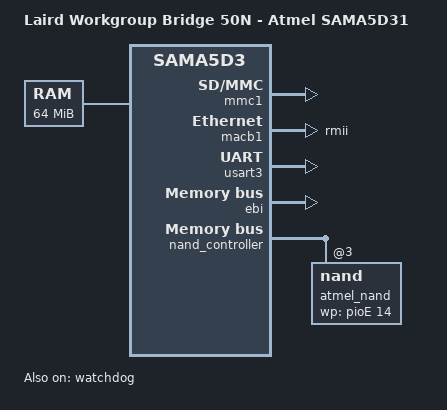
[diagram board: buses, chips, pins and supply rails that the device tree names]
// SPDX-License-Identifier: GPL-2.0
/*
 * at91-wb50n_common.dtsi - Device Tree include common file for the WB50N module
 *
 *  Copyright (C) 2018-2020 Laird Connectivity
 *
 */

#include "sama5d31.dtsi"

/ {
	model = "Laird Workgroup Bridge 50N - Atmel SAMA5D31";
	compatible = "laird,wb50n", "atmel,sama5d31", "atmel,sama5d3", "atmel,sama5";

	chosen {
		stdout-path = "serial0:115200n8";
	};

	aliases {
		mmc0 = &mmc0;
		mmc1 = &mmc1;
	};

	memory@20000000 {
		reg = <0x20000000 0x4000000>;
	};

/*
	wakeup-wifi-bt {
		pinctrl-names = "default";
		pinctrl-0 = <&pinctrl_wifi_wake &pinctrl_bt_wake>;

		compatible = "gpio-wakeup";

		interrupt-names = "wifi-wake", "bt-wake";
		interrupts-extended = <&pioC 31 IRQ_TYPE_EDGE_FALLING>,
			<&pioE 10 IRQ_TYPE_EDGE_FALLING>;
	};
*/
};

&sha {
	status = "disabled";
};

&pinctrl {
	board {
		pinctrl_nand0_wp: nand0_wp {
			atmel,pins =
				<AT91_PIOE 14 AT91_PERIPH_GPIO AT91_PINCTRL_NONE>;
		};

		pinctrl_wifi_pmu_en: wifi_pmu_en {
			atmel,pins =
				<AT91_PIOE 3 AT91_PERIPH_GPIO AT91_PINCTRL_NONE>;
		};

		pinctrl_wifi_wake: wifi_wake {
			atmel,pins =
				<AT91_PIOC 31 AT91_PERIPH_GPIO AT91_PINCTRL_PULL_UP_DEGLITCH>;
		};

		pinctrl_bt_wake: bt_wake {
			atmel,pins =
				<AT91_PIOE 10 AT91_PERIPH_GPIO AT91_PINCTRL_PULL_UP_DEGLITCH>;
		};
	};
};

&shutdown_controller {
	atmel,wakeup-mode = "low";
};

&watchdog {
	atmel,idle-halt;

	status = "okay";
};

&slow_xtal {
	clock-frequency = <32768>;
};

&main_xtal {
	clock-frequency = <12000000>;
};

&clk32k {
	atmel,osc-bypass;
};

&tcb0 {
	timer0: timer@0 {
		compatible = "atmel,tcb-timer";
		reg = <0>;
	};

	timer1: timer@1 {
		compatible = "atmel,tcb-timer";
		reg = <1>;
	};
};

&mmc0 {
	slot@0 {
		reg = <0>;
		bus-width = <4>;
	};
};

&mmc1 {
	pinctrl-names = "default";
	pinctrl-0 = <&pinctrl_mmc1_clk_cmd_dat0 &pinctrl_mmc1_dat1_3>;

	status = "okay";

	slot@0 {
		reg = <0>;
		bus-width = <4>;
	};
};

&macb1 {
	#address-cells = <1>;
	#size-cells = <0>;

	phy-mode = "rmii";
};

/* USART3 is direct-connect to the Bluetooth UART on the radio SIP */
&usart3 {
	pinctrl-names = "default";
	pinctrl-0 = <&pinctrl_usart3 &pinctrl_usart3_rts_cts>;

	atmel,use-dma-rx;
	atmel,use-dma-tx;

	status = "okay";
};

&ebi {
	pinctrl-names = "default";
	pinctrl-0 = <&pinctrl_ebi_nand_addr &pinctrl_nand0_wp>;

	status = "okay";
};

&nand_controller {
	status = "okay";

	nand: nand@3 {
		reg = <0x3 0x0 0x2>;
		atmel,rb = <0>;
		nand-bus-width = <8>;
		nand-ecc-mode = "hw";
		nand-ecc-strength = <8>;
		nand-ecc-step-size = <512>;

		/*
		 * Note - nand-on-flash-bbt requires the last 4 blocks on
		 * flash to be reserved for bad block table.  These blocks
		 * can be used in partitions only if bbt is not stored on flash.
		 */
		nand-on-flash-bbt;
		label = "atmel_nand";

		wp-gpios = <&pioE 14 GPIO_ACTIVE_HIGH>;

		nand_partitions: partitions {
			compatible = "fixed-partitions";
			#address-cells = <1>;
			#size-cells = <1>;
		};
	};
};
